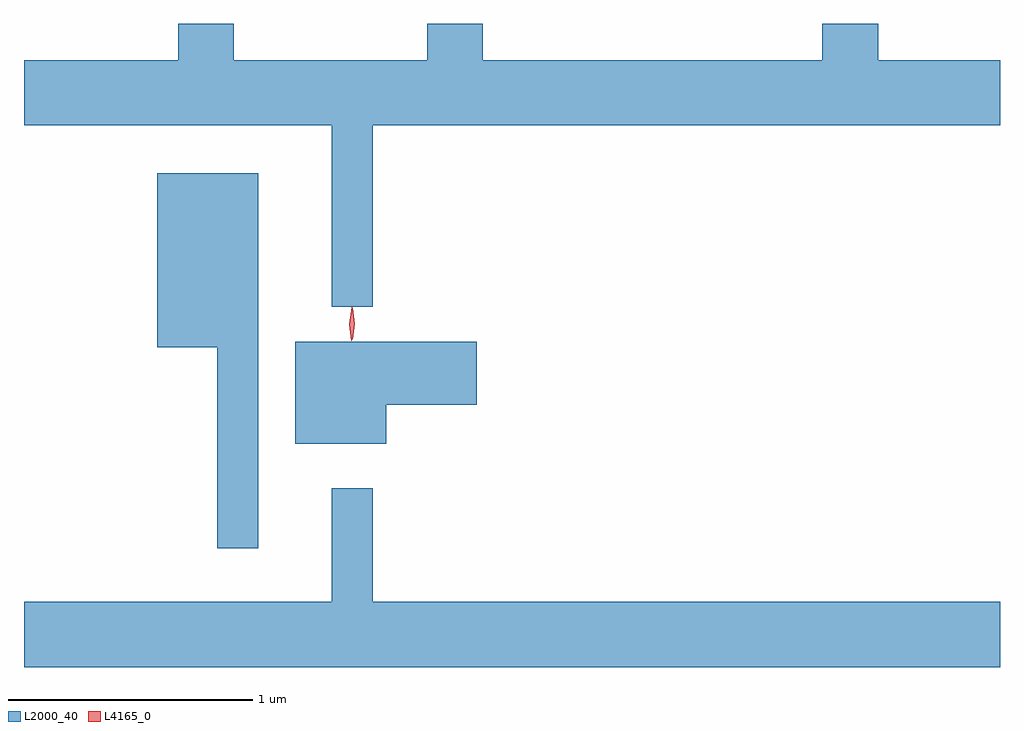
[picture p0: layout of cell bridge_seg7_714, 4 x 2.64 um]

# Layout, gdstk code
import gdstk
lib = gdstk.Library(unit=1e-6, precision=1e-09)
def P(c, l, *ps):  # polygons
    for p in ps: c.add(gdstk.Polygon(p, *l))
L2000_40 = (2000, 40)
L4165_0 = (4165, 0)

bridge_seg7_714 = lib.new_cell('bridge_seg7_714')
P(bridge_seg7_714, L2000_40, [(563.979,1794.236),(566.549,1794.236),(566.549,1794.504),(566.049,1794.504),(566.049,1794.652),(565.821,1794.652),(565.821,1794.504),(564.429,1794.504),(564.429,1794.652),(564.201,1794.652),(564.201,1794.504),(563.409,1794.504),(563.409,1794.652),(563.181,1794.652),(563.181,1794.504),(562.549,1794.504),(562.549,1794.236),(563.811,1794.236),(563.811,1793.493),(563.979,1793.493)],
  [(563.509,1794.039),(563.096,1794.039),(563.096,1793.326),(563.341,1793.326),(563.341,1792.503),(563.509,1792.503)],
  [(564.034,1793.091),(564.404,1793.091),(564.404,1793.349),(563.661,1793.349),(563.661,1792.931),(564.034,1792.931)],
  [(566.549,1792.284),(563.979,1792.284),(563.979,1792.748),(563.811,1792.748),(563.811,1792.284),(562.549,1792.284),(562.549,1792.016),(566.549,1792.016)])
P(bridge_seg7_714, L4165_0, [(563.895,1793.36),(563.885,1793.424),(563.895,1793.486),(563.895,1793.487),(563.896,1793.486),(563.905,1793.424),(563.896,1793.36),(563.896,1793.36)],
  [(563.891,1793.354),(563.883,1793.422),(563.893,1793.49),(563.894,1793.49),(563.894,1793.49),(563.902,1793.422),(563.892,1793.354),(563.892,1793.354)])

lib.write_gds('bridge_seg7_714.gds')
